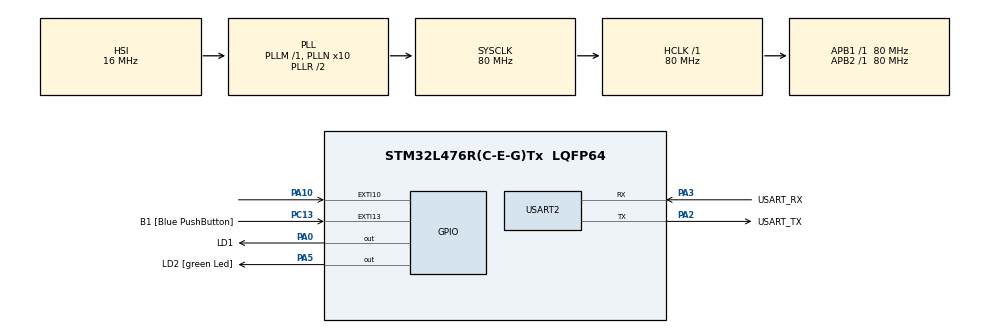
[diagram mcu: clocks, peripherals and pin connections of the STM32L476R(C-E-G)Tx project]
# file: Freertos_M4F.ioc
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Mcu.Family=STM32L4
Mcu.Name=STM32L476R(C-E-G)Tx
Mcu.Package=LQFP64
NVIC.EXTI15_10_IRQn=true\:0\:0\:false\:false\:true\:true\:true
NVIC.PriorityGroup=NVIC_PRIORITYGROUP_4
PA0.GPIO_Label=LD1
PA0.Signal=GPIO_Output
PA10.Signal=GPXTI10
PA13\ (JTMS-SWDIO).GPIO_Label=TMS
PA13\ (JTMS-SWDIO).Mode=Serial_Wire
PA13\ (JTMS-SWDIO).Signal=SYS_JTMS-SWDIO
PA14\ (JTCK-SWCLK).GPIO_Label=TCK
PA14\ (JTCK-SWCLK).Mode=Serial_Wire
PA14\ (JTCK-SWCLK).Signal=SYS_JTCK-SWCLK
PA2.GPIO_Label=USART_TX
PA2.GPIO_Mode=GPIO_MODE_AF_PP
PA2.GPIO_PuPd=GPIO_NOPULL
PA2.GPIO_Speed=GPIO_SPEED_FREQ_VERY_HIGH
PA2.Mode=Asynchronous
PA2.Signal=USART2_TX
PA3.GPIO_Label=USART_RX
PA3.GPIO_Mode=GPIO_MODE_AF_PP
PA3.GPIO_PuPd=GPIO_NOPULL
PA3.GPIO_Speed=GPIO_SPEED_FREQ_VERY_HIGH
PA3.Mode=Asynchronous
PA3.Signal=USART2_RX
PA5.GPIO_Label=LD2 [green Led]
PA5.GPIO_ModeDefaultOutputPP=GPIO_MODE_OUTPUT_PP
PA5.GPIO_PuPd=GPIO_NOPULL
PA5.GPIO_Speed=GPIO_SPEED_FREQ_LOW
PA5.Signal=GPIO_Output
PC13.GPIO_Label=B1 [Blue PushButton]
PC13.GPIO_ModeDefaultEXTI=GPIO_MODE_IT_FALLING
PC13.GPIO_PuPd=GPIO_NOPULL
PC13.Signal=GPXTI13
PC14-OSC32_IN\ (PC14).Mode=LSE-External-Oscillator
PC14-OSC32_IN\ (PC14).Signal=RCC_OSC32_IN
PC15-OSC32_OUT\ (PC15).Mode=LSE-External-Oscillator
PC15-OSC32_OUT\ (PC15).Signal=RCC_OSC32_OUT
ProjectManager.HeapSize=0x200
ProjectManager.StackSize=0x400
ProjectManager.TargetToolchain=STM32CubeIDE
RCC.ADCFreq_Value=64000000
RCC.AHBFreq_Value=80000000
RCC.APB1Freq_Value=80000000
RCC.APB1TimFreq_Value=80000000
RCC.APB2Freq_Value=80000000
RCC.APB2TimFreq_Value=80000000
RCC.CortexFreq_Value=80000000
RCC.HCLKFreq_Value=80000000
RCC.HSE_VALUE=8000000
RCC.HSI_VALUE=16000000
RCC.MSI_VALUE=4000000
RCC.PLLN=10
RCC.PLLSourceVirtual=RCC_PLLSOURCE_HSI
RCC.PREFETCH_ENABLE=1
RCC.SYSCLKFreq_VALUE=80000000
RCC.SYSCLKSource=RCC_SYSCLKSOURCE_PLLCLK
RCC.USBFreq_Value=64000000
RCC.VCOOutputFreq_Value=160000000
USART2.VirtualMode-Asynchronous=VM_ASYNC
board=NUCLEO-L476RG

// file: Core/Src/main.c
/* USER CODE BEGIN Header */
/**
  ******************************************************************************
  * @file           : main.c
  * @brief          : Main program body
  ******************************************************************************
  * @attention
  *
  * <h2><center>&copy; Copyright (c) 2022 STMicroelectronics.
  * All rights reserved.</center></h2>
  *
  * This software component is licensed by ST under BSD 3-Clause license,
  * the "License"; You may not use this file except in compliance with the
  * License. You may obtain a copy of the License at:
  *                        opensource.org/licenses/BSD-3-Clause
  *
  ******************************************************************************
  */
/* USER CODE END Header */
#include "main.h"

/* USER CODE BEGIN Includes */
#include "FreeRTOSConfig.h"
#include "FreeRTOS.h"
#include "task.h"

/* USER CODE END Includes */

/* USER CODE BEGIN PD */
#define mainSEM_TEST_PRIORITY				( tskIDLE_PRIORITY + 1 )
#define mainBLOCK_Q_PRIORITY				( tskIDLE_PRIORITY + 2 )
#define mainCHECK_TASK_PRIORITY				( tskIDLE_PRIORITY + 3 )
#define mainFLASH_TASK_PRIORITY				( tskIDLE_PRIORITY + 2 )
#define mainECHO_TASK_PRIORITY				( tskIDLE_PRIORITY + 1 )
#define mainINTEGER_TASK_PRIORITY           ( tskIDLE_PRIORITY )
#define mainGEN_QUEUE_TASK_PRIORITY			( tskIDLE_PRIORITY )
/* USER CODE END PD */

UART_HandleTypeDef huart2;

void SystemClock_Config(void);
static void MX_GPIO_Init(void);
static void MX_USART2_UART_Init(void);

/* USER CODE BEGIN 0 */

void vApplicationMallocFailedHook( void )
{
	/* vApplicationMallocFailedHook() will only be called if
	configUSE_MALLOC_FAILED_HOOK is set to 1 in FreeRTOSConfig.h.  It is a hook
	function that will get called if a call to pvPortMalloc() fails.
	pvPortMalloc() is called internally by the kernel whenever a task, queue,
	timer or semaphore is created.  It is also called by various parts of the
	demo application.  If heap_1.c or heap_2.c are used, then the size of the
	heap available to pvPortMalloc() is defined by configTOTAL_HEAP_SIZE in
	FreeRTOSConfig.h, and the xPortGetFreeHeapSize() API function can be used
	to query the size of free heap space that remains (although it does not
	provide information on how the remaining heap might be fragmented). */
	taskDISABLE_INTERRUPTS();

	for( ;; );
}

void vApplicationStackOverflowHook( TaskHandle_t pxTask, char *pcTaskName )
{
	/* This function will get called if a task overflows its stack.   If the
	parameters are corrupt then inspect pxCurrentTCB to find which was the
	offending task. */

	( void ) pxTask;
	( void ) pcTaskName;

	for( ;; );
}

static void Blink1_Task(void *pvParameters)
{
 TickType_t xlastFlashTime;
 xlastFlashTime = xTaskGetTickCount();

 //uint8_t Count;
 //uint32_t ulCount;

 while(1){
	 vTaskDelayUntil(&xlastFlashTime,500);

	 HAL_GPIO_TogglePin(GPIOA, LD1_Pin);

 }

}

static void Blink2_Task(void *pvParameters)
{
 TickType_t xlastFlashTime;
 xlastFlashTime = xTaskGetTickCount();

 //uint8_t Count;
 //uint32_t ulCount;

 while(1){
	 vTaskDelayUntil(&xlastFlashTime,500);

	 HAL_GPIO_TogglePin(GPIOA, LD2_Pin);

 }

}
/* USER CODE END 0 */

int main(void)
{

  /* MCU Configuration--------------------------------------------------------*/

  /* Reset of all peripherals, Initializes the Flash interface and the Systick. */
  HAL_Init();

  /* Configure the system clock */
  SystemClock_Config();

  /* Initialize all configured peripherals */
  MX_GPIO_Init();
  MX_USART2_UART_Init();
  /* USER CODE BEGIN 2 */

  xTaskCreate(Blink1_Task,"Blink1",128,NULL,mainINTEGER_TASK_PRIORITY+1,NULL);
  xTaskCreate(Blink2_Task,"Blink2",128,NULL,mainINTEGER_TASK_PRIORITY+2,NULL);
  vTaskStartScheduler();
  /* USER CODE END 2 */

  /* Infinite loop */
  while (1)
  {

  }
}

void SystemClock_Config(void)
{
  RCC_OscInitTypeDef RCC_OscInitStruct = {0};
  RCC_ClkInitTypeDef RCC_ClkInitStruct = {0};

  /** Configure the main internal regulator output voltage
  */
  if (HAL_PWREx_ControlVoltageScaling(PWR_REGULATOR_VOLTAGE_SCALE1) != HAL_OK)
  {
    Error_Handler();
  }
  /** Initializes the RCC Oscillators according to the specified parameters
  * in the RCC_OscInitTypeDef structure.
  */
  RCC_OscInitStruct.OscillatorType = RCC_OSCILLATORTYPE_HSI;
  RCC_OscInitStruct.HSIState = RCC_HSI_ON;
  RCC_OscInitStruct.HSICalibrationValue = RCC_HSICALIBRATION_DEFAULT;
  RCC_OscInitStruct.PLL.PLLState = RCC_PLL_ON;
  RCC_OscInitStruct.PLL.PLLSource = RCC_PLLSOURCE_HSI;
  RCC_OscInitStruct.PLL.PLLM = 1;
  RCC_OscInitStruct.PLL.PLLN = 10;
  RCC_OscInitStruct.PLL.PLLP = RCC_PLLP_DIV7;
  RCC_OscInitStruct.PLL.PLLQ = RCC_PLLQ_DIV2;
  RCC_OscInitStruct.PLL.PLLR = RCC_PLLR_DIV2;
  if (HAL_RCC_OscConfig(&RCC_OscInitStruct) != HAL_OK)
  {
    Error_Handler();
  }
  /** Initializes the CPU, AHB and APB buses clocks
  */
  RCC_ClkInitStruct.ClockType = RCC_CLOCKTYPE_HCLK|RCC_CLOCKTYPE_SYSCLK
                              |RCC_CLOCKTYPE_PCLK1|RCC_CLOCKTYPE_PCLK2;
  RCC_ClkInitStruct.SYSCLKSource = RCC_SYSCLKSOURCE_PLLCLK;
  RCC_ClkInitStruct.AHBCLKDivider = RCC_SYSCLK_DIV1;
  RCC_ClkInitStruct.APB1CLKDivider = RCC_HCLK_DIV1;
  RCC_ClkInitStruct.APB2CLKDivider = RCC_HCLK_DIV1;

  if (HAL_RCC_ClockConfig(&RCC_ClkInitStruct, FLASH_LATENCY_4) != HAL_OK)
  {
    Error_Handler();
  }
}

static void MX_USART2_UART_Init(void)
{

  huart2.Instance = USART2;
  huart2.Init.BaudRate = 115200;
  huart2.Init.WordLength = UART_WORDLENGTH_8B;
  huart2.Init.StopBits = UART_STOPBITS_1;
  huart2.Init.Parity = UART_PARITY_NONE;
  huart2.Init.Mode = UART_MODE_TX_RX;
  huart2.Init.HwFlowCtl = UART_HWCONTROL_NONE;
  huart2.Init.OverSampling = UART_OVERSAMPLING_16;
  huart2.Init.OneBitSampling = UART_ONE_BIT_SAMPLE_DISABLE;
  huart2.AdvancedInit.AdvFeatureInit = UART_ADVFEATURE_NO_INIT;
  if (HAL_UART_Init(&huart2) != HAL_OK)
  {
    Error_Handler();
  }

}

static void MX_GPIO_Init(void)
{
  GPIO_InitTypeDef GPIO_InitStruct = {0};

  /* GPIO Ports Clock Enable */
  __HAL_RCC_GPIOC_CLK_ENABLE();
  __HAL_RCC_GPIOA_CLK_ENABLE();

  /*Configure GPIO pin Output Level */
  HAL_GPIO_WritePin(GPIOA, LD1_Pin|LD2_Pin, GPIO_PIN_RESET);

  /*Configure GPIO pin : B1_Pin */
  GPIO_InitStruct.Pin = B1_Pin;
  GPIO_InitStruct.Mode = GPIO_MODE_IT_FALLING;
  GPIO_InitStruct.Pull = GPIO_NOPULL;
  HAL_GPIO_Init(B1_GPIO_Port, &GPIO_InitStruct);

  /*Configure GPIO pins : LD1_Pin LD2_Pin */
  GPIO_InitStruct.Pin = LD1_Pin|LD2_Pin;
  GPIO_InitStruct.Mode = GPIO_MODE_OUTPUT_PP;
  GPIO_InitStruct.Pull = GPIO_NOPULL;
  GPIO_InitStruct.Speed = GPIO_SPEED_FREQ_LOW;
  HAL_GPIO_Init(GPIOA, &GPIO_InitStruct);

  /*Configure GPIO pin : PA10 */
  GPIO_InitStruct.Pin = GPIO_PIN_10;
  GPIO_InitStruct.Mode = GPIO_MODE_IT_RISING;
  GPIO_InitStruct.Pull = GPIO_NOPULL;
  HAL_GPIO_Init(GPIOA, &GPIO_InitStruct);

  /* EXTI interrupt init*/
  HAL_NVIC_SetPriority(EXTI15_10_IRQn, 0, 0);
  HAL_NVIC_EnableIRQ(EXTI15_10_IRQn);

}

void Error_Handler(void)
{
  __disable_irq();
  while (1)
  {
  }
}

/************************ (C) COPYRIGHT STMicroelectronics *****END OF FILE****/
